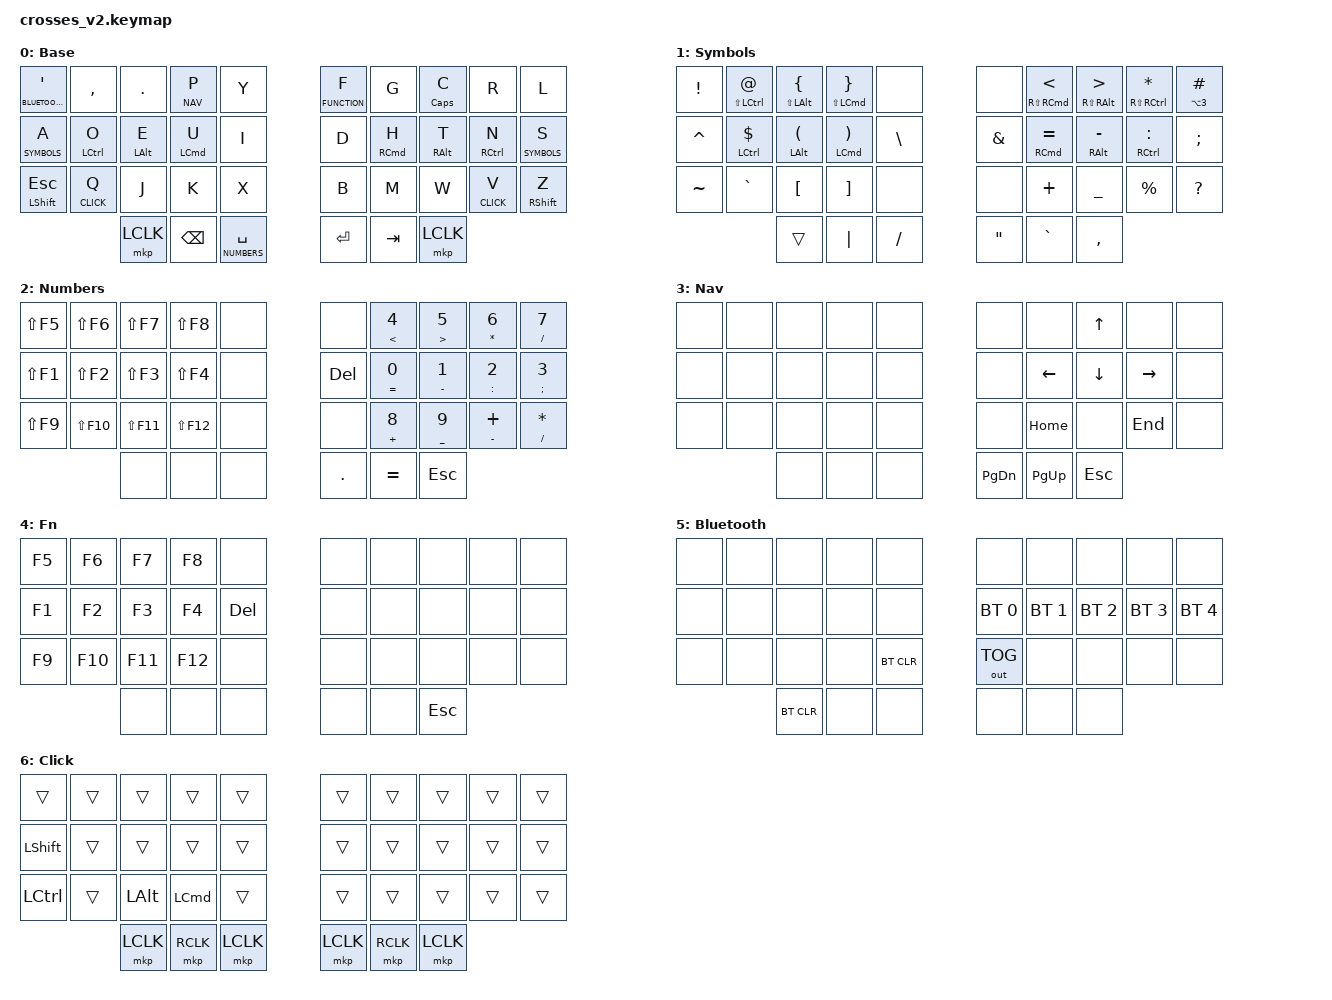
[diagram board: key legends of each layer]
#include <behaviors.dtsi>
#include <dt-bindings/zmk/bt.h>
#include <dt-bindings/zmk/keys.h>
#include <dt-bindings/zmk/outputs.h>
#include <dt-bindings/zmk/pointing.h>

#define SYMBOLS 1
#define NUMBERS 2
#define NAV 3
#define FUNCTION 4
#define BLUETOOTH 5
#define CLICK 6

#define TAPPING_TERM_MS 150

/ {
    chosen { zmk,physical-layout = &gggw_crosses_36_layout; };

    behaviors {
        hm: homerow_mods {
            compatible = "zmk,behavior-hold-tap";
            #binding-cells = <2>;
            tapping_term_ms = <TAPPING_TERM_MS>;
            quick_tap_ms = <0>;
            flavor = "balanced";
            bindings = <&kp>, <&kp>;
        };

        hmpt: homerow_mods_prefer_tap {
            compatible = "zmk,behavior-hold-tap";
            #binding-cells = <2>;
            tapping_term_ms = <TAPPING_TERM_MS>;
            quick_tap_ms = <0>;
            flavor = "tap-preferred";
            bindings = <&kp>, <&kp>;
        };

        blt: balanced_layer_tap {
            compatible = "zmk,behavior-hold-tap";
            #binding-cells = <2>;
            tapping_term_ms = <TAPPING_TERM_MS>;
            quick_tap_ms = <0>;
            flavor = "balanced";
            bindings = <&mo>, <&kp>;
        };

        tlt: toggle_layer_tap {
            compatible = "zmk,behavior-hold-tap";
            #binding-cells = <2>;
            tapping_term_ms = <250>;
            flavor = "tap-preferred";
            bindings = <&kp>, <&tog>;
        };
    };

    keymap {
        compatible = "zmk,keymap";

        default_layer {
            display-name = "Base";
            bindings = <
                &lt BLUETOOTH APOS  &kp COMMA       &kp DOT         &blt NAV P       &kp Y            &lt FUNCTION F  &kp G           &hm CAPSLOCK C  &kp R           &kp L
                &blt SYMBOLS A      &hm LCTRL O     &hmpt LALT E    &hm LCMD U       &kp I            &kp D           &hm RCMD H      &hmpt RALT T    &hm RCTRL N     &blt SYMBOLS S
                &hm LSHFT ESC       &blt CLICK Q    &kp J           &kp K            &kp X            &kp B           &kp M           &kp W           &blt CLICK V    &hm RSHFT Z
                                                   &mkp LCLK &kp BSPC         &blt NUMBERS SPACE &kp RET       &kp TAB         &mkp LCLK
            >;
        };

        symbols_layer {
            display-name = "Symbols";
            bindings = <
                &kp EXCL      &hm LS(LCTRL) AT  &hmpt LS(LALT) LBRC  &hm LS(LCMD) RBRC  &none          &none          &hm RS(RCMD) LT      &hmpt RS(RALT) GT   &hm RS(RCTRL) ASTRK  &hm LA(N3) HASH
                &kp CARET     &hm LCTRL DLLR    &hmpt LALT LPAR      &hm LCMD RPAR      &kp BSLH       &kp AMPS       &hm RCMD EQUAL       &hmpt RALT MINUS    &hm RCTRL COLON      &kp SEMI
                &kp TILDE     &kp GRAVE         &kp LBKT             &kp RBKT           &none          &none          &kp PLUS             &kp UNDER           &kp PRCNT            &kp QMARK
                                              &trans                &kp PIPE          &kp FSLH       &kp DQT         &kp GRAVE            &kp COMMA
            >;
        };

        numbers_layer {
            display-name = "Numbers";
            bindings = <
                &kp LS(F5)  &kp LS(F6)  &kp LS(F7)  &kp LS(F8)  &none      &none    &hmpt LT N4      &hmpt GT N5         &hmpt ASTRK N6      &hmpt FSLH N7
                &kp LS(F1)  &kp LS(F2)  &kp LS(F3)  &kp LS(F4)  &none      &kp DEL  &hmpt EQUAL N0   &hmpt MINUS N1      &hmpt COLON N2      &hmpt SEMI N3
                &kp LS(F9)  &kp LS(F10) &kp LS(F11) &kp LS(F12) &none      &none    &hmpt PLUS N8    &hmpt UNDER N9      &hmpt MINUS PLUS    &hmpt FSLH ASTRK
                                       &none        &none        &none      &kp DOT  &kp EQUAL         &kp ESC
            >;
        };

        nav_layer {
            display-name = "Nav";
            bindings = <
                &none  &none  &none  &none  &none   &none  &none      &kp UP     &none      &none
                &none  &none  &none  &none  &none   &none  &kp LEFT   &kp DOWN   &kp RIGHT  &none
                &none  &none  &none  &none  &none   &none  &kp HOME   &none      &kp END    &none
                               &none  &none  &none   &kp PG_DN  &kp PG_UP  &kp ESC
            >;
        };

        function_layer {
            display-name = "Fn";
            bindings = <
                &kp F5   &kp F6   &kp F7   &kp F8   &none   &none   &none   &none   &none   &none
                &kp F1   &kp F2   &kp F3   &kp F4   &kp DEL &none   &none   &none   &none   &none
                &kp F9   &kp F10  &kp F11  &kp F12  &none   &none   &none   &none   &none   &none
                                  &none    &none    &none   &none   &none   &kp ESC
            >;
        };

        bt_layer {
            display-name = "Bluetooth";
            bindings = <
                &none  &none  &none  &none  &none      &none         &none         &none         &none         &none
                &none  &none  &none  &none  &none      &bt BT_SEL 0  &bt BT_SEL 1  &bt BT_SEL 2  &bt BT_SEL 3  &bt BT_SEL 4
                &none  &none  &none  &none  &bt BT_CLR      &out OUT_TOG  &none         &none         &none         &none
                               &bt BT_CLR  &none &none  &none       &none         &none
            >;
        };

        click_layer {
            display-name = "Click";
            bindings = <
                &trans       &trans  &trans      &trans      &trans  &trans  &trans  &trans  &trans  &trans
                &kp LSHFT    &trans  &trans      &trans      &trans  &trans  &trans  &trans  &trans  &trans
                &kp LCTRL    &trans  &kp LALT    &kp LCMD    &trans  &trans  &trans  &trans  &trans  &trans
                                     &mkp LCLK   &mkp RCLK   &mkp LCLK &mkp LCLK &mkp RCLK &mkp LCLK
            >;
        };
    };
};
